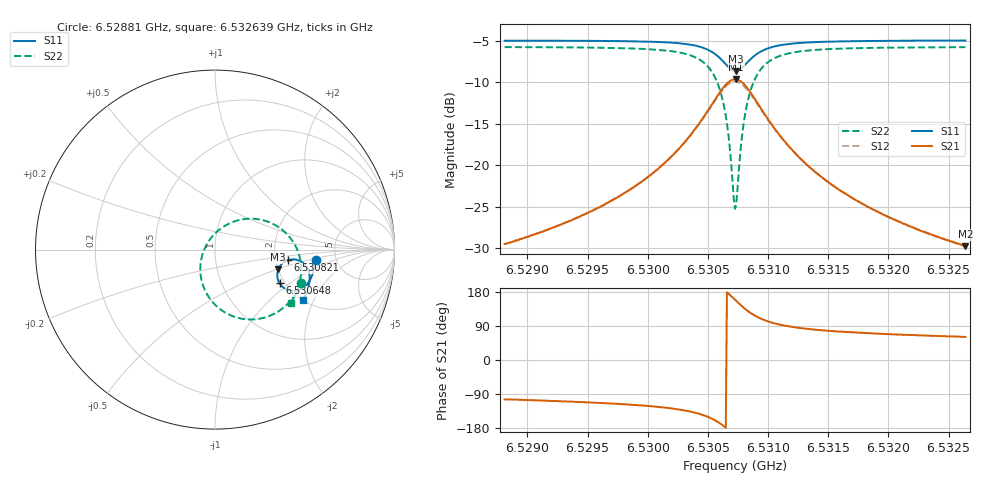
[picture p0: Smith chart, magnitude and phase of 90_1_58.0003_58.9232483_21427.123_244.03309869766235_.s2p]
#  HZ  S  RI  R  50.00
! Rohde & Schwarz Vector Network Analyzer
! Rohde-Schwarz,ZNB20-2Port,1311601062101988,3.16
! Created: UTC 3/21/2024, 12:54:15 AM
! freq[Hz]  re:S11  im:S11  re:S21  im:S21  re:S12  im:S12  re:S22  im:S22
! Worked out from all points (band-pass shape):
!   401 points, 6.52881 GHz to 6.532639 GHz, reference 50 ohm
!   highest |S21| = -9.64 dB at 6.530735 GHz (marker M1); lowest = -29.8 dB at 6.532639 GHz (marker M2)
!   |S21| within 3 dB of the highest: 6.530534 GHz to 6.530918 GHz (383.6 kHz wide, 0.00587 % of centre)
!   lowest |S11| = -8.6 dB at 6.530735 GHz (marker M3), VSWR 2.17, Z = 100 - j25.6 ohm
!   |S11| at or under -10 dB: nowhere
!   |S22| runs from -25.3 to -5.8 dB; largest |S21 - S12| = 0.014
!   S11 on the Smith chart (normalised r, x): 6.52881 GHz: 3.48, -0.57; 6.530648 GHz: 1.88, -0.84; 6.530821 GHz: 2.34, -0.33; 6.532639 GHz: 2.02, -1.66
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6.5288104e9  0.5608 -0.0559  -0.00797 -0.0326  -0.00865 -0.0324  0.481 -0.1855
6.5294518e9  0.5513 -0.1107  -0.0179 -0.0464  -0.019 -0.046  0.4486 -0.2477
6.529806e9  0.5406 -0.1451  -0.0306 -0.0607  -0.0323 -0.0598  0.4151 -0.2916
6.5300931e9  0.5239 -0.1783  -0.0537 -0.0798  -0.056 -0.0784  0.3628 -0.3379
6.5303229e9  0.4944 -0.2101  -0.0989 -0.102  -0.102 -0.0986  0.2714 -0.3801
6.5304856e9  0.4465 -0.2294  -0.1753 -0.1081  -0.1777 -0.1004  0.1315 -0.3811
6.5305814e9  0.397 -0.2211  -0.2524 -0.0756  -0.2507 -0.0645  0.0042 -0.3109
6.5306484e9  0.3601 -0.1879  -0.3056 -0.00682  -0.298 0.00419  -0.0714 -0.1849
6.5306771e9  0.3499 -0.1646  -0.3174 0.037  -0.3071 0.0461  -0.082 -0.1103
6.5307154e9  0.3479 -0.1285  -0.3131 0.1018  -0.3008 0.1069  -0.0621 -0.00481
6.5307249e9  0.35 -0.1194  -0.3079 0.1177  -0.2956 0.1217  -0.0506 0.0204
6.5307345e9  0.3527 -0.1104  -0.3015 0.1333  -0.2889 0.1361  -0.0369 0.0441
6.5307441e9  0.3566 -0.1019  -0.2933 0.1479  -0.281 0.1496  -0.0209 0.0665
6.5307824e9  0.3791 -0.0741  -0.2494 0.1951  -0.239 0.1932  0.0599 0.1353
6.5308207e9  0.4078 -0.0585  -0.1975 0.2206  -0.1898 0.2169  0.1503 0.1681
6.5308877e9  0.4542 -0.0566  -0.1163 0.224  -0.1126 0.2204  0.2865 0.1583
6.5309834e9  0.4955 -0.0783  -0.0463 0.1918  -0.0444 0.1896  0.4 0.0874
6.531127e9  0.5203 -0.115  -0.0034 0.1422  -0.00232 0.1413  0.463 -0.0136
6.5313663e9  0.5279 -0.1593  0.0151 0.0931  0.0162 0.0929  0.4804 -0.116
6.5316822e9  0.5227 -0.1987  0.0186 0.0618  0.0195 0.0616  0.4701 -0.1892
6.5320077e9  0.5134 -0.2299  0.018 0.045  0.0189 0.0448  0.454 -0.2358
6.5326395e9  0.491 -0.28  0.0158 0.0284  0.0163 0.0282  0.4214 -0.2963
